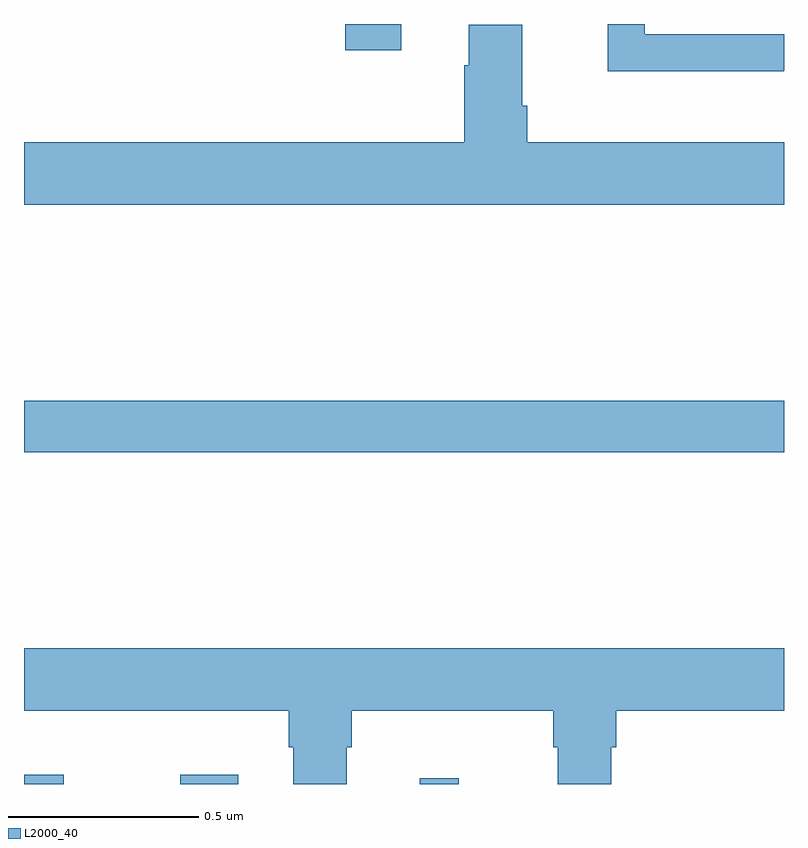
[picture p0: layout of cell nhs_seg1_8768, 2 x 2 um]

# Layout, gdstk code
import gdstk
lib = gdstk.Library(unit=1e-6, precision=1e-09)
def R(c, l, rs):  # rectangles x0, y0, x1, y1
    for r in rs: c.add(gdstk.rectangle(r[:2], r[2:], *l))
def P(c, l, *ps):  # polygons
    for p in ps: c.add(gdstk.Polygon(p, *l))
L2000_40 = (2000, 40)

nhs_seg1_8768 = lib.new_cell('nhs_seg1_8768')
R(nhs_seg1_8768, L2000_40, [(220,558.199,220.104,558.223), (220.411,558.199,220.564,558.223), (221.042,558.199,221.144,558.214), (220,559.072,222,559.208), (220.845,560.13,220.993,560.199)])
P(nhs_seg1_8768, L2000_40, [(221.999,560.076),(222,560.076),(222,560.172),(221.634,560.172),(221.634,560.199),(221.536,560.199),(221.536,560.075),(221.999,560.075)],
  [(222,559.888),(221.324,559.888),(221.324,559.984),(221.311,559.984),(221.311,560.197),(221.171,560.197),(221.171,560.09),(221.159,560.09),(221.159,559.888),(220,559.888),(220,559.724),(222,559.724)],
  [(220,558.392),(220.697,558.392),(220.697,558.296),(220.709,558.296),(220.709,558.199),(220.849,558.199),(220.849,558.296),(220.862,558.296),(220.862,558.392),(221.393,558.392),(221.393,558.296),(221.405,558.296),(221.405,558.199),(221.545,558.199),(221.545,558.296),(221.558,558.296),(221.558,558.392),(222,558.392),(222,558.556),(220,558.556)])

lib.write_gds('nhs_seg1_8768.gds')
